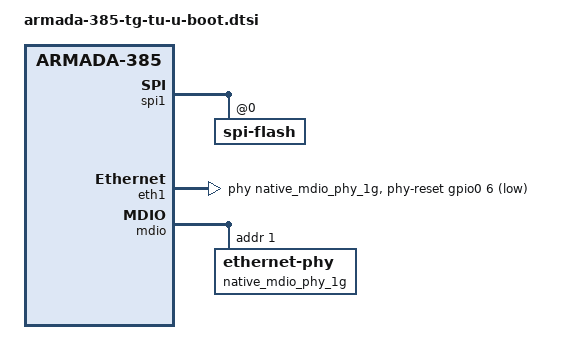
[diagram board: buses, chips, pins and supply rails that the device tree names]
// SPDX-License-Identifier: GPL-2.0+

/ {
	aliases {
		spi1 = &spi1;
	};
};

&uart0 {
	u-boot,dm-pre-reloc;
};

&spi1 {
	u-boot,dm-spl;

	spi-flash@0 {
		u-boot,dm-spl;
	};
};

&eth0 {
	/* No comphy driver in U-Boot */
	/delete-property/ phys;
};

&eth1 {
	/* No generic PHY reset in U-Boot. Use mvneta specific property. */
	phy-reset-gpios = <&gpio0 6 GPIO_ACTIVE_LOW>;
	phy = <&native_mdio_phy_1g>;
	/delete-property/ phys;
};

&eth2 {
	/delete-property/ phys;
};

/* U-Boot does not support bit-bang mdio.
 * Enable the native mdio.
 */
&mdio {
	status = "okay";

	/* Only 1Gb PHY works with the native mdio */
	native_mdio_phy_1g: ethernet-phy@1 {
		reg = <1>;
	};
};

&nand_controller {
	/* The kernel always enables arbiter. U-Boot needs this. */
	nand-enable-arbiter;
	/* U-Boot does not support the new nand binding */
	nand-ecc-strength = <8>;
	nand-ecc-step-size = <512>;
};
